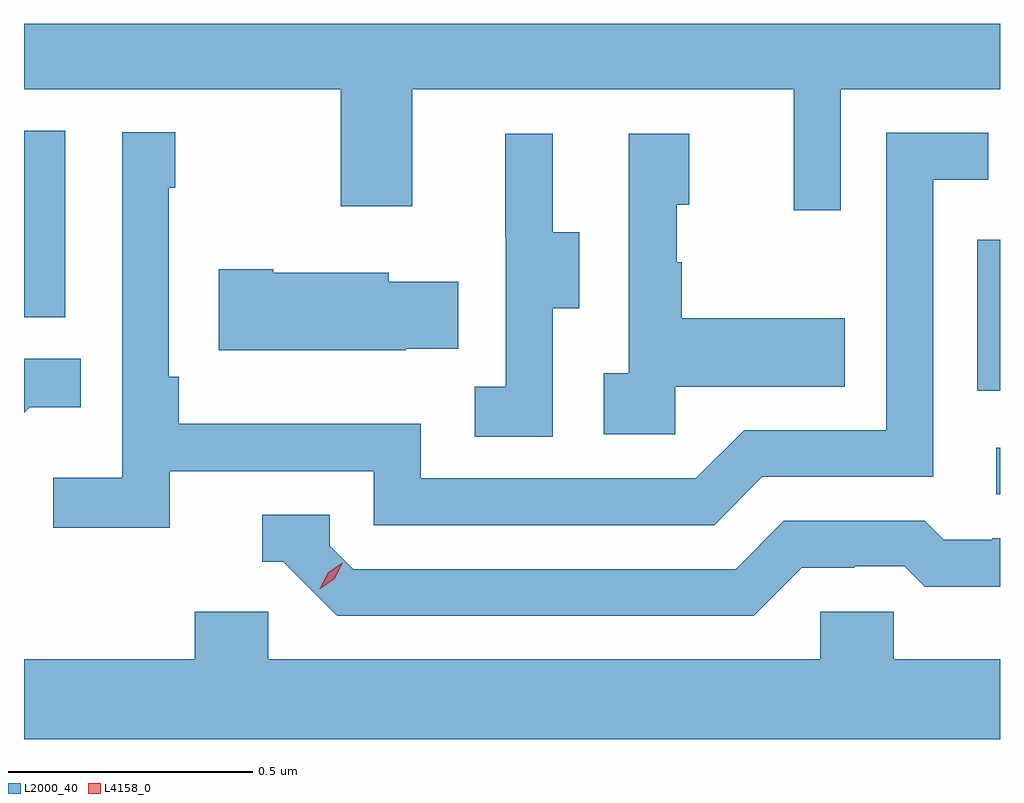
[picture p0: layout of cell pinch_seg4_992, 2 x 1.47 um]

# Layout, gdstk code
import gdstk
lib = gdstk.Library(unit=1e-6, precision=1e-09)
def R(c, l, rs):  # rectangles x0, y0, x1, y1
    for r in rs: c.add(gdstk.rectangle(r[:2], r[2:], *l))
def P(c, l, *ps):  # polygons
    for p in ps: c.add(gdstk.Polygon(p, *l))
L2000_40 = (2000, 40)
L4158_0 = (4158, 0)

pinch_seg4_992 = lib.new_cell('pinch_seg4_992')
R(pinch_seg4_992, L2000_40, [(889.335,784.002,889.343,784.098), (889.296,784.215,889.343,784.524), (887.343,784.365,887.428,784.747)])
P(pinch_seg4_992, L2000_40, [(889.017,784.832),(889.343,784.832),(889.343,784.967),(887.343,784.967),(887.343,784.832),(887.992,784.832),(887.992,784.593),(888.139,784.593),(888.139,784.832),(888.92,784.832),(888.92,784.584),(889.017,784.584)],
  [(887.642,784.05),(888.06,784.05),(888.06,783.939),(888.757,783.939),(888.856,784.038),(889.206,784.038),(889.206,784.647),(889.319,784.647),(889.319,784.743),(889.11,784.743),(889.11,784.134),(888.819,784.134),(888.72,784.035),(888.156,784.035),(888.156,784.147),(887.66,784.147),(887.66,784.243),(887.64,784.243),(887.64,784.631),(887.653,784.631),(887.653,784.744),(887.544,784.744),(887.544,784.036),(887.403,784.036),(887.403,783.934),(887.642,783.934)],
  [(888.678,784.223),(889.025,784.223),(889.025,784.363),(888.691,784.363),(888.691,784.478),(888.681,784.478),(888.681,784.596),(888.706,784.596),(888.706,784.741),(888.582,784.741),(888.582,784.25),(888.531,784.25),(888.531,784.125),(888.678,784.125)],
  [(888.426,784.384),(888.481,784.384),(888.481,784.539),(888.427,784.539),(888.427,784.741),(888.329,784.741),(888.329,784.527),(888.33,784.527),(888.33,784.223),(888.267,784.223),(888.267,784.12),(888.426,784.12)],
  [(888.125,784.301),(888.233,784.301),(888.233,784.438),(888.09,784.438),(888.09,784.456),(887.854,784.456),(887.854,784.464),(887.742,784.464),(887.742,784.298),(888.125,784.298)],
  [(887.355,784.181),(887.459,784.181),(887.459,784.28),(887.343,784.28),(887.343,784.169)],
  [(888.937,783.852),(889.044,783.852),(889.044,783.855),(889.147,783.855),(889.189,783.813),(889.343,783.813),(889.343,783.912),(889.327,783.912),(889.327,783.909),(889.228,783.909),(889.189,783.948),(888.9,783.948),(888.801,783.849),(888.018,783.849),(887.97,783.897),(887.97,783.96),(887.831,783.96),(887.831,783.864),(887.874,783.864),(887.985,783.753),(888.838,783.753)],
  [(889.343,783.664),(889.125,783.664),(889.125,783.762),(888.975,783.762),(888.975,783.664),(887.844,783.664),(887.844,783.762),(887.693,783.762),(887.693,783.664),(887.343,783.664),(887.343,783.5),(889.343,783.5)])
P(pinch_seg4_992, L4158_0, [(887.949,783.809),(887.949,783.809),(887.965,783.842),(887.995,783.862),(887.995,783.862),(887.995,783.861),(887.98,783.829),(887.95,783.809)])

lib.write_gds('pinch_seg4_992.gds')
